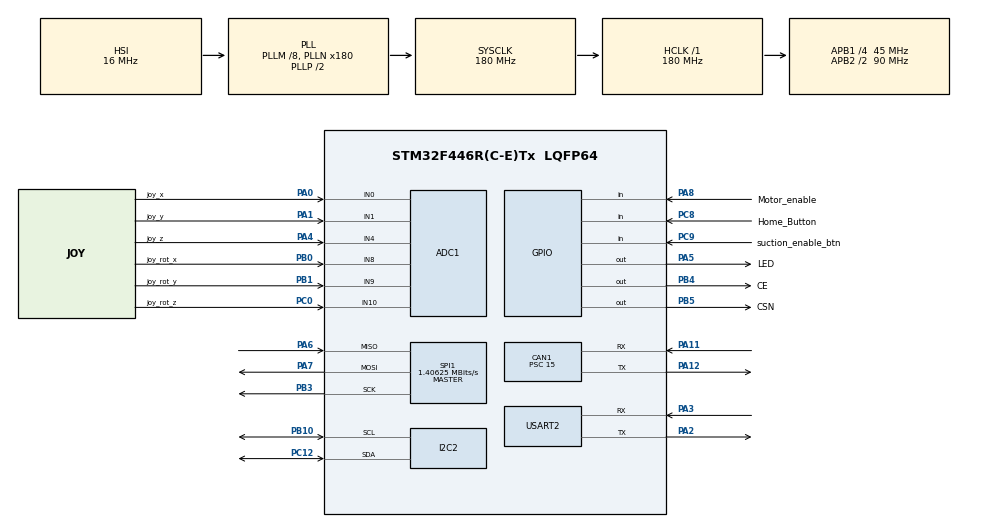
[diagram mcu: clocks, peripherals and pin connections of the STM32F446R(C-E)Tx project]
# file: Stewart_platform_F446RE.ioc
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ADC1.Channel-0\#ChannelRegularConversion=ADC_CHANNEL_0
ADC1.Channel-1\#ChannelRegularConversion=ADC_CHANNEL_1
ADC1.Channel-2\#ChannelRegularConversion=ADC_CHANNEL_4
ADC1.Channel-3\#ChannelRegularConversion=ADC_CHANNEL_8
ADC1.Channel-4\#ChannelRegularConversion=ADC_CHANNEL_9
ADC1.Channel-5\#ChannelRegularConversion=ADC_CHANNEL_10
ADC1.NbrOfConversion=6
ADC1.NbrOfConversionFlag=1
ADC1.Rank-0\#ChannelRegularConversion=1
ADC1.Rank-1\#ChannelRegularConversion=2
ADC1.Rank-2\#ChannelRegularConversion=3
ADC1.Rank-3\#ChannelRegularConversion=4
ADC1.Rank-4\#ChannelRegularConversion=5
ADC1.Rank-5\#ChannelRegularConversion=6
ADC1.SamplingTime-0\#ChannelRegularConversion=ADC_SAMPLETIME_112CYCLES
ADC1.SamplingTime-1\#ChannelRegularConversion=ADC_SAMPLETIME_112CYCLES
ADC1.SamplingTime-2\#ChannelRegularConversion=ADC_SAMPLETIME_112CYCLES
ADC1.SamplingTime-3\#ChannelRegularConversion=ADC_SAMPLETIME_112CYCLES
ADC1.SamplingTime-4\#ChannelRegularConversion=ADC_SAMPLETIME_112CYCLES
ADC1.SamplingTime-5\#ChannelRegularConversion=ADC_SAMPLETIME_112CYCLES
ADC1.ScanConvMode=ENABLE
ADC1.master=1
CAN1.BS1=CAN_BS1_12TQ
CAN1.BS2=CAN_BS2_2TQ
CAN1.CalculateBaudRate=200000
CAN1.CalculateTimeBit=5000
CAN1.CalculateTimeQuantum=333.3333333333333
CAN1.Prescaler=15
Dma.ADC1.0.Direction=DMA_PERIPH_TO_MEMORY
Dma.ADC1.0.FIFOMode=DMA_FIFOMODE_DISABLE
Dma.ADC1.0.Instance=DMA2_Stream0
Dma.ADC1.0.MemDataAlignment=DMA_MDATAALIGN_HALFWORD
Dma.ADC1.0.MemInc=DMA_MINC_ENABLE
Dma.ADC1.0.Mode=DMA_CIRCULAR
Dma.ADC1.0.PeriphDataAlignment=DMA_PDATAALIGN_HALFWORD
Dma.ADC1.0.PeriphInc=DMA_PINC_DISABLE
Dma.ADC1.0.Priority=DMA_PRIORITY_LOW
Dma.Request0=ADC1
Mcu.Family=STM32F4
Mcu.Name=STM32F446R(C-E)Tx
Mcu.Package=LQFP64
NVIC.ADC_IRQn=true\:0\:0\:true\:false\:true\:true\:true\:true
NVIC.DMA2_Stream0_IRQn=true\:0\:0\:false\:false\:true\:false\:true\:true
NVIC.PriorityGroup=NVIC_PRIORITYGROUP_4
PA0-WKUP.GPIO_Label=joy_x
PA0-WKUP.Signal=ADCx_IN0
PA1.GPIO_Label=joy_y
PA1.Signal=ADCx_IN1
PA11.Mode=CAN_Activate
PA11.Signal=CAN1_RX
PA12.Mode=CAN_Activate
PA12.Signal=CAN1_TX
PA2.Mode=Asynchronous
PA2.Signal=USART2_TX
PA3.Mode=Asynchronous
PA3.Signal=USART2_RX
PA4.GPIO_Label=joy_z
PA4.Signal=ADCx_IN4
PA5.GPIO_Label=LED
PA5.Signal=GPIO_Output
PA6.Mode=Full_Duplex_Master
PA6.Signal=SPI1_MISO
PA7.Mode=Full_Duplex_Master
PA7.Signal=SPI1_MOSI
PA8.GPIO_Label=Motor_enable
PA8.GPIO_PuPd=GPIO_PULLUP
PA8.Signal=GPIO_Input
PB0.GPIO_Label=joy_rot_x
PB0.Signal=ADCx_IN8
PB1.GPIO_Label=joy_rot_y
PB1.Signal=ADCx_IN9
PB10.GPIO_Pu=GPIO_PULLUP
PB10.Mode=I2C
PB10.Signal=I2C2_SCL
PB3.Mode=Full_Duplex_Master
PB3.Signal=SPI1_SCK
PB4.GPIO_Label=CE
PB4.Signal=GPIO_Output
PB5.GPIO_Label=CSN
PB5.Signal=GPIO_Output
PC0.GPIO_Label=joy_rot_z
PC0.Signal=ADCx_IN10
PC12.GPIO_Pu=GPIO_PULLUP
PC12.Mode=I2C
PC12.Signal=I2C2_SDA
PC8.GPIO_Label=Home_Button
PC8.GPIO_PuPd=GPIO_PULLUP
PC8.Signal=GPIO_Input
PC9.GPIO_Label=suction_enable_btn
PC9.GPIO_PuPd=GPIO_PULLDOWN
PC9.Signal=GPIO_Input
PH0-OSC_IN.Mode=HSE-External-Oscillator
PH0-OSC_IN.Signal=RCC_OSC_IN
PH1-OSC_OUT.Mode=HSE-External-Oscillator
PH1-OSC_OUT.Signal=RCC_OSC_OUT
ProjectManager.HeapSize=0x200
ProjectManager.StackSize=0x400
ProjectManager.TargetToolchain=STM32CubeIDE
RCC.AHBFreq_Value=180000000
RCC.APB1CLKDivider=RCC_HCLK_DIV4
RCC.APB1Freq_Value=45000000
RCC.APB1TimFreq_Value=90000000
RCC.APB2CLKDivider=RCC_HCLK_DIV2
RCC.APB2Freq_Value=90000000
RCC.APB2TimFreq_Value=180000000
RCC.CortexFreq_Value=180000000
RCC.HCLKFreq_Value=180000000
RCC.PLLM=8
RCC.PLLN=180
RCC.SYSCLKFreq_VALUE=180000000
RCC.SYSCLKSource=RCC_SYSCLKSOURCE_PLLCLK
RCC.USBFreq_Value=180000000
RCC.VCOOutputFreq_Value=360000000
SH.ADCx_IN0.0=ADC1_IN0,IN0
SH.ADCx_IN1.0=ADC1_IN1,IN1
SH.ADCx_IN10.0=ADC1_IN10,IN10
SH.ADCx_IN4.0=ADC1_IN4,IN4
SH.ADCx_IN8.0=ADC1_IN8,IN8
SH.ADCx_IN9.0=ADC1_IN9,IN9
SPI1.BaudRatePrescaler=SPI_BAUDRATEPRESCALER_64
SPI1.CalculateBaudRate=1.40625 MBits/s
SPI1.Direction=SPI_DIRECTION_2LINES
SPI1.Mode=SPI_MODE_MASTER
SPI1.VirtualType=VM_MASTER
USART2.VirtualMode=VM_ASYNC
board=custom

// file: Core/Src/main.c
/* USER CODE BEGIN Header */
/**
  ******************************************************************************
  * @file           : main.c
  * @brief          : Main program body
  ******************************************************************************
  * @attention
  *
  * Copyright (c) 2024 STMicroelectronics.
  * All rights reserved.
  *
  * This software is licensed under terms that can be found in the LICENSE file
  * in the root directory of this software component.
  * If no LICENSE file comes with this software, it is provided AS-IS.
  *
  ******************************************************************************
  */
/* USER CODE END Header */
#include "main.h"

/* USER CODE BEGIN Includes */

#include <stdio.h>
#include<string.h>
#include "../stewart/stewart.h"
#include "NRF24L01.h"
#include "sh1106.h"

/* USER CODE END Includes */

/* USER CODE BEGIN PD */

#define I2C
//#define OLED
//#define RF
#define S_DEBUG
//#define ESP
//#define CAN

/* USER CODE END PD */

ADC_HandleTypeDef hadc1;
DMA_HandleTypeDef hdma_adc1;

CAN_HandleTypeDef hcan1;

I2C_HandleTypeDef hi2c2;

SPI_HandleTypeDef hspi1;

UART_HandleTypeDef huart2;

/* USER CODE BEGIN PV */

uint16_t adc_raw[6];
float joyx, joyy, joyz, joyrot_x, joyrot_y, joyrot_z;

uint8_t adc_ready;

uint16_t target_pot[6];
uint8_t TxData[13];
uint8_t home_btn = 0;
uint8_t suction_btn = 0;
uint8_t motor_en_state = 0;

#ifdef S_DEBUG
	uint8_t uart_buffer[100];

	enum debug_type {
		target_pos,
		target_c_length,
		target_pot_val,
		joystick_input

	};

#endif

#ifdef OLED
	oled_tx_buffer[16];
#endif

#ifdef RF
	uint8_t RF_address[] = {0xAA, 0xBB, 0xCC, 0xDD, 0xEE};
#endif

#ifdef CAN
	CAN_TxHeaderTypeDef pTxHeader;
	uint8_t CAN_TxData[8];
	uint32_t TxMailbox;
#endif

/* USER CODE END PV */

void SystemClock_Config(void);
static void MX_GPIO_Init(void);
static void MX_DMA_Init(void);
static void MX_ADC1_Init(void);
static void MX_SPI1_Init(void);
static void MX_I2C2_Init(void);
static void MX_USART2_UART_Init(void);
static void MX_CAN1_Init(void);
/* USER CODE BEGIN PFP */

void move_target_position(stewart* stewart);
float adc_raw_to_joystick(uint16_t adc_raw);
void debug_platform(stewart* stewart, uint8_t output_type);
uint16_t c_length_to_pot_value(float cylinder_length);
void pack_data();
void move_platform_home(stewart* st);
void CAN_Pack_Send(void);

/* USER CODE END PFP */

int main(void)
{

  /* USER CODE BEGIN 1 */
	stewart platform;

	platform_init(&platform);

	// set position limits
	platform.xyz_limit = 50.0;	// [mm]
	platform.tilt_limit = 10;	// deg
	platform.rot_limit = 10;	// deg

  /* USER CODE END 1 */

  /* MCU Configuration--------------------------------------------------------*/

  /* Reset of all peripherals, Initializes the Flash interface and the Systick. */
  HAL_Init();

  /* Configure the system clock */
  SystemClock_Config();

  /* Initialize all configured peripherals */
  MX_GPIO_Init();
  MX_DMA_Init();
  MX_ADC1_Init();
  MX_SPI1_Init();
  MX_I2C2_Init();
  MX_USART2_UART_Init();
  MX_CAN1_Init();
  /* USER CODE BEGIN 2 */
  adc_ready = 0;

#ifdef RF
  	  NRF24_Init();
  	  nrf24_reset(2);
  	  NRF24_TxMode(RF_address, 1);
#endif

#ifdef OLED
  	  disp_init();
#endif

#ifdef CAN
  	  HAL_CAN_Start(&hcan1);
  	  HAL_CAN_WakeUp(&hcan1);
#endif

  	  move_platform_home(&platform);

  /* USER CODE END 2 */

  /* Infinite loop */
  /* USER CODE BEGIN WHILE */
  while (1)
  {

	  HAL_ADC_Start_DMA(&hadc1, (uint32_t *) adc_raw, 6);

	  if (adc_ready) {

		  joyx = adc_raw_to_joystick(adc_raw[0]);
		  joyy = adc_raw_to_joystick(adc_raw[1]);
		  joyz = adc_raw_to_joystick(adc_raw[2]);
		  joyrot_x = adc_raw_to_joystick(adc_raw[3]);
		  joyrot_y = adc_raw_to_joystick(adc_raw[4]);
		  joyrot_z = adc_raw_to_joystick(adc_raw[5]);

		  adc_ready = 0;
	  }

	  home_btn = HAL_GPIO_ReadPin(Home_Button_GPIO_Port, Home_Button_Pin);
	  suction_btn = HAL_GPIO_ReadPin(suction_enable_btn_GPIO_Port, suction_enable_btn_Pin);

	  if ( HAL_GPIO_ReadPin(Motor_enable_GPIO_Port, Motor_enable_Pin) == 0) {
		  motor_en_state = motor_en_state ^ 1;
	  }

	  if (home_btn == 0) {
	 		  move_platform_home(&platform);
	 	  }

	  move_target_position(&platform);

	  rotate_platform(&platform, platform.a1);
	  rotate_platform(&platform, platform.a2);
	  rotate_platform(&platform, platform.a3);
	  rotate_platform(&platform, platform.a4);
	  rotate_platform(&platform, platform.a5);
	  rotate_platform(&platform, platform.a6);

	  run_platform(&platform);

	  target_pot[0] = c_length_to_pot_value(platform.c_target[0]);
	  target_pot[1] = c_length_to_pot_value(platform.c_target[1]);
	  target_pot[2] = c_length_to_pot_value(platform.c_target[2]);
	  target_pot[3] = c_length_to_pot_value(platform.c_target[3]);
	  target_pot[4] = c_length_to_pot_value(platform.c_target[4]);
	  target_pot[5] = c_length_to_pot_value(platform.c_target[5]);

	  pack_data();

#ifdef I2C

	  // sending commands via I2C
	  if (HAL_I2C_Master_Transmit(&hi2c2, 0x00, TxData, sizeof(TxData), 500) == HAL_OK) {
		  HAL_GPIO_TogglePin(LED_GPIO_Port, LED_Pin);
	  }

#ifdef ESP
	  if (HAL_I2C_Master_Transmit(&hi2c2, (0x01<<1), TxData, sizeof(TxData), 100) == HAL_OK) {
		  HAL_GPIO_TogglePin(LED_GPIO_Port, LED_Pin);
	  }

#endif

#endif

#ifdef OLED
	  sprintf(oled_tx_buffer, "x: %.2f, rotx: %.2f", platform.tp_target_pos[0], platform.tp_target_pos[3]);
	  display_string(1, oled_tx_buffer);
	  sprintf(oled_tx_buffer, "y: %.2f, roty: %.2f", platform.tp_target_pos[1], platform.tp_target_pos[4]);
	  display_string(2, oled_tx_buffer);
	  sprintf(oled_tx_buffer, "z: %.2f, rotz: %.2f", platform.tp_target_pos[2], platform.tp_target_pos[5]);
	  display_string(3, oled_tx_buffer);
	  disp_data();
#endif

#ifdef S_DEBUG
	  debug_platform(&platform, target_pos);
#endif

#ifdef RF

	  lost_packets = nrf24_ReadReg(0x08);
	  if (NRF24_Transmit(TxData) == 1) {
		  HAL_GPIO_TogglePin(LED_GPIO_Port, LED_Pin);
	  }

#endif

	  HAL_Delay(100);

    /* USER CODE END WHILE */

  }
}

void SystemClock_Config(void)
{
  RCC_OscInitTypeDef RCC_OscInitStruct = {0};
  RCC_ClkInitTypeDef RCC_ClkInitStruct = {0};

  /** Configure the main internal regulator output voltage
  */
  __HAL_RCC_PWR_CLK_ENABLE();
  __HAL_PWR_VOLTAGESCALING_CONFIG(PWR_REGULATOR_VOLTAGE_SCALE1);

  /** Initializes the RCC Oscillators according to the specified parameters
  * in the RCC_OscInitTypeDef structure.
  */
  RCC_OscInitStruct.OscillatorType = RCC_OSCILLATORTYPE_HSI;
  RCC_OscInitStruct.HSIState = RCC_HSI_ON;
  RCC_OscInitStruct.HSICalibrationValue = RCC_HSICALIBRATION_DEFAULT;
  RCC_OscInitStruct.PLL.PLLState = RCC_PLL_ON;
  RCC_OscInitStruct.PLL.PLLSource = RCC_PLLSOURCE_HSI;
  RCC_OscInitStruct.PLL.PLLM = 8;
  RCC_OscInitStruct.PLL.PLLN = 180;
  RCC_OscInitStruct.PLL.PLLP = RCC_PLLP_DIV2;
  RCC_OscInitStruct.PLL.PLLQ = 2;
  RCC_OscInitStruct.PLL.PLLR = 2;
  if (HAL_RCC_OscConfig(&RCC_OscInitStruct) != HAL_OK)
  {
    Error_Handler();
  }

  /** Activate the Over-Drive mode
  */
  if (HAL_PWREx_EnableOverDrive() != HAL_OK)
  {
    Error_Handler();
  }

  /** Initializes the CPU, AHB and APB buses clocks
  */
  RCC_ClkInitStruct.ClockType = RCC_CLOCKTYPE_HCLK|RCC_CLOCKTYPE_SYSCLK
                              |RCC_CLOCKTYPE_PCLK1|RCC_CLOCKTYPE_PCLK2;
  RCC_ClkInitStruct.SYSCLKSource = RCC_SYSCLKSOURCE_PLLCLK;
  RCC_ClkInitStruct.AHBCLKDivider = RCC_SYSCLK_DIV1;
  RCC_ClkInitStruct.APB1CLKDivider = RCC_HCLK_DIV4;
  RCC_ClkInitStruct.APB2CLKDivider = RCC_HCLK_DIV2;

  if (HAL_RCC_ClockConfig(&RCC_ClkInitStruct, FLASH_LATENCY_5) != HAL_OK)
  {
    Error_Handler();
  }
}

static void MX_ADC1_Init(void)
{

  ADC_ChannelConfTypeDef sConfig = {0};

  /** Configure the global features of the ADC (Clock, Resolution, Data Alignment and number of conversion)
  */
  hadc1.Instance = ADC1;
  hadc1.Init.ClockPrescaler = ADC_CLOCK_SYNC_PCLK_DIV4;
  hadc1.Init.Resolution = ADC_RESOLUTION_12B;
  hadc1.Init.ScanConvMode = ENABLE;
  hadc1.Init.ContinuousConvMode = DISABLE;
  hadc1.Init.DiscontinuousConvMode = DISABLE;
  hadc1.Init.ExternalTrigConvEdge = ADC_EXTERNALTRIGCONVEDGE_NONE;
  hadc1.Init.ExternalTrigConv = ADC_SOFTWARE_START;
  hadc1.Init.DataAlign = ADC_DATAALIGN_RIGHT;
  hadc1.Init.NbrOfConversion = 6;
  hadc1.Init.DMAContinuousRequests = DISABLE;
  hadc1.Init.EOCSelection = ADC_EOC_SINGLE_CONV;
  if (HAL_ADC_Init(&hadc1) != HAL_OK)
  {
    Error_Handler();
  }

  /** Configure for the selected ADC regular channel its corresponding rank in the sequencer and its sample time.
  */
  sConfig.Channel = ADC_CHANNEL_0;
  sConfig.Rank = 1;
  sConfig.SamplingTime = ADC_SAMPLETIME_112CYCLES;
  if (HAL_ADC_ConfigChannel(&hadc1, &sConfig) != HAL_OK)
  {
    Error_Handler();
  }

  /** Configure for the selected ADC regular channel its corresponding rank in the sequencer and its sample time.
  */
  sConfig.Channel = ADC_CHANNEL_1;
  sConfig.Rank = 2;
  if (HAL_ADC_ConfigChannel(&hadc1, &sConfig) != HAL_OK)
  {
    Error_Handler();
  }

  /** Configure for the selected ADC regular channel its corresponding rank in the sequencer and its sample time.
  */
  sConfig.Channel = ADC_CHANNEL_4;
  sConfig.Rank = 3;
  if (HAL_ADC_ConfigChannel(&hadc1, &sConfig) != HAL_OK)
  {
    Error_Handler();
  }

  /** Configure for the selected ADC regular channel its corresponding rank in the sequencer and its sample time.
  */
  sConfig.Channel = ADC_CHANNEL_8;
  sConfig.Rank = 4;
  if (HAL_ADC_ConfigChannel(&hadc1, &sConfig) != HAL_OK)
  {
    Error_Handler();
  }

  /** Configure for the selected ADC regular channel its corresponding rank in the sequencer and its sample time.
  */
  sConfig.Channel = ADC_CHANNEL_9;
  sConfig.Rank = 5;
  if (HAL_ADC_ConfigChannel(&hadc1, &sConfig) != HAL_OK)
  {
    Error_Handler();
  }

  /** Configure for the selected ADC regular channel its corresponding rank in the sequencer and its sample time.
  */
  sConfig.Channel = ADC_CHANNEL_10;
  sConfig.Rank = 6;
  if (HAL_ADC_ConfigChannel(&hadc1, &sConfig) != HAL_OK)
  {
    Error_Handler();
  }

}

static void MX_CAN1_Init(void)
{

  hcan1.Instance = CAN1;
  hcan1.Init.Prescaler = 15;
  hcan1.Init.Mode = CAN_MODE_NORMAL;
  hcan1.Init.SyncJumpWidth = CAN_SJW_1TQ;
  hcan1.Init.TimeSeg1 = CAN_BS1_12TQ;
  hcan1.Init.TimeSeg2 = CAN_BS2_2TQ;
  hcan1.Init.TimeTriggeredMode = DISABLE;
  hcan1.Init.AutoBusOff = DISABLE;
  hcan1.Init.AutoWakeUp = DISABLE;
  hcan1.Init.AutoRetransmission = DISABLE;
  hcan1.Init.ReceiveFifoLocked = DISABLE;
  hcan1.Init.TransmitFifoPriority = DISABLE;
  if (HAL_CAN_Init(&hcan1) != HAL_OK)
  {
    Error_Handler();
  }

}

static void MX_I2C2_Init(void)
{

  hi2c2.Instance = I2C2;
  hi2c2.Init.ClockSpeed = 100000;
  hi2c2.Init.DutyCycle = I2C_DUTYCYCLE_2;
  hi2c2.Init.OwnAddress1 = 0;
  hi2c2.Init.AddressingMode = I2C_ADDRESSINGMODE_7BIT;
  hi2c2.Init.DualAddressMode = I2C_DUALADDRESS_DISABLE;
  hi2c2.Init.OwnAddress2 = 0;
  hi2c2.Init.GeneralCallMode = I2C_GENERALCALL_DISABLE;
  hi2c2.Init.NoStretchMode = I2C_NOSTRETCH_DISABLE;
  if (HAL_I2C_Init(&hi2c2) != HAL_OK)
  {
    Error_Handler();
  }

}

static void MX_SPI1_Init(void)
{

  /* SPI1 parameter configuration*/
  hspi1.Instance = SPI1;
  hspi1.Init.Mode = SPI_MODE_MASTER;
  hspi1.Init.Direction = SPI_DIRECTION_2LINES;
  hspi1.Init.DataSize = SPI_DATASIZE_8BIT;
  hspi1.Init.CLKPolarity = SPI_POLARITY_LOW;
  hspi1.Init.CLKPhase = SPI_PHASE_1EDGE;
  hspi1.Init.NSS = SPI_NSS_SOFT;
  hspi1.Init.BaudRatePrescaler = SPI_BAUDRATEPRESCALER_64;
  hspi1.Init.FirstBit = SPI_FIRSTBIT_MSB;
  hspi1.Init.TIMode = SPI_TIMODE_DISABLE;
  hspi1.Init.CRCCalculation = SPI_CRCCALCULATION_DISABLE;
  hspi1.Init.CRCPolynomial = 10;
  if (HAL_SPI_Init(&hspi1) != HAL_OK)
  {
    Error_Handler();
  }

}

static void MX_USART2_UART_Init(void)
{

  huart2.Instance = USART2;
  huart2.Init.BaudRate = 115200;
  huart2.Init.WordLength = UART_WORDLENGTH_8B;
  huart2.Init.StopBits = UART_STOPBITS_1;
  huart2.Init.Parity = UART_PARITY_NONE;
  huart2.Init.Mode = UART_MODE_TX_RX;
  huart2.Init.HwFlowCtl = UART_HWCONTROL_NONE;
  huart2.Init.OverSampling = UART_OVERSAMPLING_16;
  if (HAL_UART_Init(&huart2) != HAL_OK)
  {
    Error_Handler();
  }

}

static void MX_DMA_Init(void)
{

  /* DMA controller clock enable */
  __HAL_RCC_DMA2_CLK_ENABLE();

  /* DMA interrupt init */
  /* DMA2_Stream0_IRQn interrupt configuration */
  HAL_NVIC_SetPriority(DMA2_Stream0_IRQn, 0, 0);
  HAL_NVIC_EnableIRQ(DMA2_Stream0_IRQn);

}

static void MX_GPIO_Init(void)
{
  GPIO_InitTypeDef GPIO_InitStruct = {0};

  /* GPIO Ports Clock Enable */
  __HAL_RCC_GPIOH_CLK_ENABLE();
  __HAL_RCC_GPIOC_CLK_ENABLE();
  __HAL_RCC_GPIOA_CLK_ENABLE();
  __HAL_RCC_GPIOB_CLK_ENABLE();

  /*Configure GPIO pin Output Level */
  HAL_GPIO_WritePin(LED_GPIO_Port, LED_Pin, GPIO_PIN_RESET);

  /*Configure GPIO pin Output Level */
  HAL_GPIO_WritePin(GPIOB, CE_Pin|CSN_Pin, GPIO_PIN_RESET);

  /*Configure GPIO pin : LED_Pin */
  GPIO_InitStruct.Pin = LED_Pin;
  GPIO_InitStruct.Mode = GPIO_MODE_OUTPUT_PP;
  GPIO_InitStruct.Pull = GPIO_NOPULL;
  GPIO_InitStruct.Speed = GPIO_SPEED_FREQ_LOW;
  HAL_GPIO_Init(LED_GPIO_Port, &GPIO_InitStruct);

  /*Configure GPIO pin : Home_Button_Pin */
  GPIO_InitStruct.Pin = Home_Button_Pin;
  GPIO_InitStruct.Mode = GPIO_MODE_INPUT;
  GPIO_InitStruct.Pull = GPIO_PULLUP;
  HAL_GPIO_Init(Home_Button_GPIO_Port, &GPIO_InitStruct);

  /*Configure GPIO pin : suction_enable_btn_Pin */
  GPIO_InitStruct.Pin = suction_enable_btn_Pin;
  GPIO_InitStruct.Mode = GPIO_MODE_INPUT;
  GPIO_InitStruct.Pull = GPIO_PULLDOWN;
  HAL_GPIO_Init(suction_enable_btn_GPIO_Port, &GPIO_InitStruct);

  /*Configure GPIO pin : Motor_enable_Pin */
  GPIO_InitStruct.Pin = Motor_enable_Pin;
  GPIO_InitStruct.Mode = GPIO_MODE_INPUT;
  GPIO_InitStruct.Pull = GPIO_PULLUP;
  HAL_GPIO_Init(Motor_enable_GPIO_Port, &GPIO_InitStruct);

  /*Configure GPIO pins : CE_Pin CSN_Pin */
  GPIO_InitStruct.Pin = CE_Pin|CSN_Pin;
  GPIO_InitStruct.Mode = GPIO_MODE_OUTPUT_PP;
  GPIO_InitStruct.Pull = GPIO_NOPULL;
  GPIO_InitStruct.Speed = GPIO_SPEED_FREQ_LOW;
  HAL_GPIO_Init(GPIOB, &GPIO_InitStruct);

}

/* USER CODE BEGIN 4 */

void HAL_ADC_ConvCpltCallback(ADC_HandleTypeDef* hadc) {

	adc_ready = 1;

}

void move_target_position(stewart* stewart) {

	if (stewart->tp_target_pos[0] > stewart->xyz_limit) stewart->tp_target_pos[0] = stewart->xyz_limit;
	else if (stewart->tp_target_pos[0] < -stewart->xyz_limit) stewart->tp_target_pos[0] = -stewart->xyz_limit;
	else if (stewart->tp_target_pos[0] >= -stewart->xyz_limit || stewart->tp_target_pos[0] <= stewart->xyz_limit )
	{
		stewart->tp_target_pos[0] += joyx;
	}

	if (stewart->tp_target_pos[1] > stewart->xyz_limit) stewart->tp_target_pos[1] = stewart->xyz_limit;
	else if (stewart->tp_target_pos[1] < -stewart->xyz_limit) stewart->tp_target_pos[1] = -stewart->xyz_limit;
	else if (stewart->tp_target_pos[1] >= -stewart->xyz_limit || stewart->tp_target_pos[1] <= stewart->xyz_limit )
	{
		stewart->tp_target_pos[1] += joyy;
	}

	if (stewart->tp_target_pos[2] > 0) stewart->tp_target_pos[2] = 0;
	else if (stewart->tp_target_pos[2] < -2*stewart->xyz_limit) stewart->tp_target_pos[2] = -2*stewart->xyz_limit;
	else if (stewart->tp_target_pos[2] >= -2*stewart->xyz_limit || stewart->tp_target_pos[2] <= 0 )
	{
		stewart->tp_target_pos[2] += joyz;
	}

	if (stewart->tp_target_pos[3] > stewart->tilt_limit) stewart->tp_target_pos[3] = stewart->tilt_limit;
	else if (stewart->tp_target_pos[3] < -stewart->tilt_limit) stewart->tp_target_pos[3] = -stewart->tilt_limit;
	else if (stewart->tp_target_pos[3] >= -stewart->tilt_limit || stewart->tp_target_pos[3] <= stewart->tilt_limit )
	{
		stewart->tp_target_pos[3] += joyrot_x;
	}

	if (stewart->tp_target_pos[4] > stewart->tilt_limit) stewart->tp_target_pos[4] = stewart->tilt_limit;
	else if (stewart->tp_target_pos[4] < -stewart->tilt_limit) stewart->tp_target_pos[4] = -stewart->tilt_limit;
	else if (stewart->tp_target_pos[4] >= -stewart->tilt_limit || stewart->tp_target_pos[4] <= stewart->tilt_limit )
	{
		stewart->tp_target_pos[4] += joyrot_y;
	}

	if (stewart->tp_target_pos[5] > stewart->rot_limit) stewart->tp_target_pos[5] = stewart->rot_limit;
	else if (stewart->tp_target_pos[5] < -stewart->rot_limit) stewart->tp_target_pos[5] = -stewart->rot_limit;
	else if (stewart->tp_target_pos[5] >= -stewart->rot_limit || stewart->tp_target_pos[5] <= stewart->rot_limit )
	{
		stewart->tp_target_pos[5] += joyrot_z;
	}

}

float adc_raw_to_joystick(uint16_t adc_raw) {

	float joy_val;

	if (adc_raw >= 1900 && adc_raw <= 2150) {
		return 0;
	}

	else if (adc_raw > 2100) {
		joy_val = (float) (adc_raw - 2150) / 400;

	}

	else if (adc_raw <1900) {
		joy_val = (float) (adc_raw - 1850)/ 400;

	}
	return joy_val;
}

#ifdef S_DEBUG

void debug_platform(stewart* stewart, uint8_t output_type) {

	if (output_type == target_pos) {
		uint8_t buf_len = sprintf((char *) uart_buffer, "x: %.2f, y: %.2f, z: %.2f thetax: %.2f thetay: %.2f thetaz: %.2f \n\r",
				stewart->tp_target_pos[0], stewart->tp_target_pos[1], stewart->tp_target_pos[2],
				stewart->tp_target_pos[3], stewart->tp_target_pos[4], stewart->tp_target_pos[5]);

		HAL_UART_Transmit(&huart2, uart_buffer, buf_len, 100);
	}

	else if (output_type == target_c_length) {

		uint8_t buf_len = sprintf((char *) uart_buffer, "l1:%.2f, l2:%.2f, l3:%f, l4:%.2f, l5:%.2f l6:%.2f  \n\r",
				stewart->c_target[0], stewart->c_target[1], stewart->c_target[2],
				stewart->c_target[3], stewart->c_target[4], stewart->c_target[5]);

		HAL_UART_Transmit(&huart2, uart_buffer, buf_len, 100);
	}

	else if (output_type == target_pot_val) {
		uint8_t buf_len = sprintf((char *) uart_buffer,
				"tpot1:%d, tpot2:%d, tpot3:%d, tpot4:%d, tpot5:%d tpot6:%d  \n\r",
					target_pot[0], target_pot[1], target_pot[2],
					target_pot[3], target_pot[4], target_pot[5]);

		HAL_UART_Transmit(&huart2, uart_buffer, buf_len, 100);
	}
	else if (output_type == joystick_input) {
		uint8_t buf_len = sprintf((char *) uart_buffer,
						"joy x:%.2f, joy y:%.2f, joy z:%.2f, joy theta x:%.2f, joy theta y:%.2f joy theta z:%.2f \n\r",
							joyx, joyy, joyz, joyrot_x, joyrot_y, joyrot_z);
		HAL_UART_Transmit(&huart2, uart_buffer, buf_len, 100);

	}

}

#endif

uint16_t c_length_to_pot_value(float cylinder_length) {

	uint16_t pot_val;

	pot_val = (uint16_t) (cylinder_length - 460.00) * 13.6533;

	return pot_val;
}

void pack_data(void) {

	TxData[0] = (uint8_t) (target_pot[0] & 0xFF);
	TxData[1] = (uint8_t) (target_pot[0] >> 8) & 0x0F;

	TxData[2] = (uint8_t) (target_pot[1] & 0xFF);
	TxData[3] = (uint8_t) (target_pot[1] >> 8) & 0x0F;

	TxData[4] = (uint8_t) (target_pot[2] & 0xFF);
	TxData[5] = (uint8_t) (target_pot[2] >> 8) & 0x0F;

	TxData[6] = (uint8_t) (target_pot[3] & 0xFF);
	TxData[7] = (uint8_t) (target_pot[3] >> 8) & 0x0F;

	TxData[8] = (uint8_t) (target_pot[4] & 0xFF);
	TxData[9] = (uint8_t) (target_pot[4] >> 8) & 0x0F;

	TxData[10] = (uint8_t) (target_pot[5] & 0xFF);
	TxData[11] = (uint8_t) (target_pot[5] >> 8) & 0x0F;

	TxData[12] = (uint8_t) suction_btn | (motor_en_state << 1);

}

void move_platform_home(stewart* st) {

	st->tp_target_pos[0] = 0;
	st->tp_target_pos[1] = 0;
	st->tp_target_pos[2] = 0;
	st->tp_target_pos[3] = 0;
	st->tp_target_pos[4] = 0;
	st->tp_target_pos[5] = 0;

}

#ifdef CAN

void CAN_Pack_Send(void) {

	pTxHeader.DLC = 8;
	pTxHeader.IDE = CAN_ID_STD;
	pTxHeader.StdId = 0;
	pTxHeader.RTR = CAN_RTR_DATA;
	pTxHeader.TransmitGlobalTime = DISABLE;

	CAN_TxData[0] = (uint8_t) (target_pot[0] & 0xFF);
	CAN_TxData[1] = (uint8_t) (target_pot[0] >> 8) & 0x0F;

	CAN_TxData[2] = (uint8_t) (target_pot[1] & 0xFF);
	CAN_TxData[3] = (uint8_t) (target_pot[1] >> 8) & 0x0F;

	CAN_TxData[4] = (uint8_t) (target_pot[2] & 0xFF);
	CAN_TxData[5] = (uint8_t) (target_pot[2] >> 8) & 0x0F;

	CAN_TxData[6] = (uint8_t) (target_pot[3] & 0xFF);
	CAN_TxData[7] = (uint8_t) (target_pot[3] >> 8) & 0x0F;

	HAL_CAN_AddTxMessage(&hcan1, &pTxHeader, CAN_TxData, &TxMailbox);

	memset(&CAN_TxData[0], 0, 8);

	pTxHeader.DLC = 8;
	pTxHeader.IDE = CAN_ID_STD;
	pTxHeader.StdId = 1;
	pTxHeader.RTR = CAN_RTR_DATA;
	pTxHeader.TransmitGlobalTime = DISABLE;

	CAN_TxData[0] = (uint8_t) (target_pot[4] & 0xFF);
	CAN_TxData[1] = (uint8_t) (target_pot[4] >> 8) & 0x0F;

	CAN_TxData[2] = (uint8_t) (target_pot[5] & 0xFF);
	CAN_TxData[3] = (uint8_t) (target_pot[5] >> 8) & 0x0F;

	CAN_TxData[4] = (uint8_t) suction_btn | (motor_en_state << 1);

	HAL_CAN_AddTxMessage(&hcan1, &pTxHeader, CAN_TxData, &TxMailbox);

}

#endif

/* USER CODE END 4 */

void Error_Handler(void)
{
  /* USER CODE BEGIN Error_Handler_Debug */
  /* User can add his own implementation to report the HAL error return state */

  while (1)
  {
	  HAL_GPIO_TogglePin(LED_GPIO_Port, LED_Pin);
	  HAL_Delay(1000);
  }
  /* USER CODE END Error_Handler_Debug */
}
